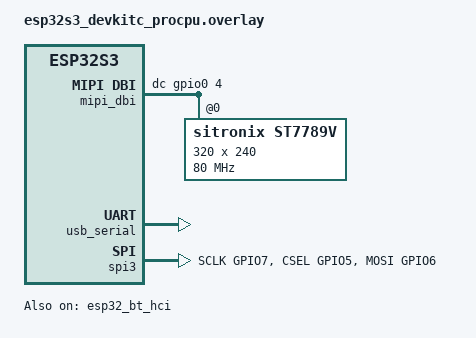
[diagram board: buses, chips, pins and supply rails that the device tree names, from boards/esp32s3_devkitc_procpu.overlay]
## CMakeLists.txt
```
cmake_minimum_required(VERSION 3.20.0)
find_package(Zephyr REQUIRED HINTS $ENV{ZEPHYR_BASE})
project(lvgl_input)

target_sources(app PRIVATE src/main.c src/ble_hid.c)
```

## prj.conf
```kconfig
# Console
CONFIG_PRINTK=y
CONFIG_CONSOLE=y
CONFIG_UART_CONSOLE=y
CONFIG_SERIAL=y

# GPIO (backlight)
CONFIG_GPIO=y

# SPI + Display
CONFIG_SPI=y
CONFIG_DISPLAY=y
CONFIG_MIPI_DBI=y

# LVGL
CONFIG_LVGL=y
CONFIG_LV_Z_MEM_POOL_SIZE=58368
CONFIG_LV_USE_LOG=y
CONFIG_LV_FONT_MONTSERRAT_14=y
CONFIG_LV_FONT_MONTSERRAT_16=y
CONFIG_LV_COLOR_DEPTH_16=y
CONFIG_LV_COLOR_16_SWAP=y
CONFIG_LV_Z_VDB_SIZE=10

# Bluetooth
CONFIG_BT=y
CONFIG_BT_CENTRAL=y
CONFIG_BT_SMP=y
CONFIG_BT_GATT_CLIENT=y
CONFIG_BT_GATT_AUTO_DISCOVER_CCC=y
CONFIG_BT_MAX_CONN=2
CONFIG_BT_MAX_PAIRED=4
CONFIG_BT_ATT_TX_COUNT=4
CONFIG_BT_L2CAP_TX_BUF_COUNT=4
CONFIG_BT_BUF_ACL_RX_SIZE=256
CONFIG_BT_BUF_ACL_TX_SIZE=256
CONFIG_BT_SMP_SC_ONLY=n
CONFIG_BT_SMP_SC_PAIR_ONLY=n
CONFIG_BT_SMP_ENFORCE_MITM=n
CONFIG_BT_BONDABLE=y

# Logging
CONFIG_LOG=y
CONFIG_BT_LOG_LEVEL_INF=y

# Stack (BLE + LVGL need more)
CONFIG_MAIN_STACK_SIZE=8192
```

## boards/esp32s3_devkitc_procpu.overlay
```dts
/* CHD-ESP32-S3-BOX: LVGL + BLE HID Host
 * Combines: ST7789V display + BLE HCI for keyboard/mouse
 */

#include <zephyr/dt-bindings/pinctrl/esp-pinctrl-common.h>
#include <dt-bindings/pinctrl/esp32s3-pinctrl.h>
#include <zephyr/dt-bindings/pinctrl/esp32s3-gpio-sigmap.h>
#include <zephyr/dt-bindings/mipi_dbi/mipi_dbi.h>

/ {
	chosen {
		zephyr,console = &usb_serial;
		zephyr,shell-uart = &usb_serial;
		zephyr,display = &st7789v;
	};

	mipi_dbi {
		compatible = "zephyr,mipi-dbi-spi";
		dc-gpios = <&gpio0 4 GPIO_ACTIVE_HIGH>;
		spi-dev = <&spi3>;
		write-only;
		#address-cells = <1>;
		#size-cells = <0>;

		st7789v: st7789v@0 {
			compatible = "sitronix,st7789v";
			mipi-max-frequency = <80000000>;
			reg = <0>;
			width = <320>;
			height = <240>;
			x-offset = <0>;
			y-offset = <0>;
			vcom = <0x19>;
			gctrl = <0x35>;
			vrhs = <0x12>;
			vdvs = <0x20>;
			mdac = <0x60>;
			gamma = <0x01>;
			colmod = <0x55>;
			inversion-off;
			lcm = <0x2c>;
			porch-param = [0c 0c 00 33 33];
			cmd2en-param = [5a 69 02 01];
			pwctrl1-param = [a4 a1];
			pvgam-param = [D0 04 0D 11 13 2B 3F 54 4C 18 0D 0B 1F 23];
			nvgam-param = [D0 04 0C 11 13 2C 3F 44 51 2F 1F 1F 20 23];
			ram-param = [00 F0];
			rgb-param = [CD 08 14];
			mipi-mode = "MIPI_DBI_MODE_SPI_4WIRE";
		};
	};
};

&usb_serial {
	status = "okay";
};

/* BLE HCI */
&esp32_bt_hci {
	status = "okay";
};

&pinctrl {
	spim3_default: spim3_default {
		group1 {
			pinmux = <SPIM3_SCLK_GPIO7>,
				 <SPIM3_CSEL_GPIO5>;
		};
		group2 {
			pinmux = <SPIM3_MOSI_GPIO6>;
			output-low;
		};
	};
};

&spi3 {
	#address-cells = <1>;
	#size-cells = <0>;
	status = "okay";
	pinctrl-0 = <&spim3_default>;
	pinctrl-names = "default";
};
```

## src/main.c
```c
/*
 * CHD-ESP32-S3-BOX: LVGL + BLE HID Mouse + Keyboard Input
 *
 * Displays a test UI with mouse cursor and keyboard navigation
 * driven by BLE-connected HID devices.
 */

#include <zephyr/kernel.h>
#include <zephyr/device.h>
#include <zephyr/devicetree.h>
#include <zephyr/drivers/display.h>
#include <zephyr/drivers/gpio.h>
#include <lvgl.h>

#include "ble_hid.h"

/* Backlight: IO47 = GPIO1 pin 15 */
#define BLK_NODE DT_NODELABEL(gpio1)
#define BLK_PIN  15

static lv_obj_t *status_label;
static lv_obj_t *coord_label;
static lv_obj_t *click_label;
static lv_obj_t *key_label;
static int click_count;

/* ── LVGL Mouse input read callback ──────────────────── */

static void mouse_read_cb(lv_indev_t *indev, lv_indev_data_t *data)
{
	data->point.x = g_mouse.x;
	data->point.y = g_mouse.y;
	data->state = (g_mouse.buttons & 0x01)
		      ? LV_INDEV_STATE_PRESSED
		      : LV_INDEV_STATE_RELEASED;
}

/* ── LVGL Keyboard input read callback ──────────────── */

static uint32_t last_key;
static lv_indev_state_t last_state = LV_INDEV_STATE_RELEASED;

static void kb_read_cb(lv_indev_t *indev, lv_indev_data_t *data)
{
	struct kb_event evt;

	if (k_msgq_get(&kb_events, &evt, K_NO_WAIT) == 0) {
		last_key = evt.key;
		last_state = evt.pressed ? LV_INDEV_STATE_PRESSED
					: LV_INDEV_STATE_RELEASED;
		/* Update key display label */
		if (key_label && evt.pressed) {
			if (evt.key >= 0x20 && evt.key < 0x7F) {
				lv_label_set_text_fmt(key_label,
						      "Key: '%c'",
						      (char)evt.key);
			} else {
				lv_label_set_text_fmt(key_label,
						      "Key: 0x%02X",
						      evt.key);
			}
		}
	}
	data->key = last_key;
	data->state = last_state;
}

/* ── UI event callbacks ─────────────────────────────── */

static void btn_click_cb(lv_event_t *e)
{
	click_count++;
	lv_label_set_text_fmt(click_label, "Clicks: %d", click_count);
}

/* ── Main ────────────────────────────────────────────── */

int main(void)
{
	printk("=== CHD-ESP32-S3-BOX LVGL + BLE HID ===\n");

	/* Backlight ON */
	const struct device *gpio1 = DEVICE_DT_GET(BLK_NODE);
	if (device_is_ready(gpio1)) {
		gpio_pin_configure(gpio1, BLK_PIN, GPIO_OUTPUT_ACTIVE);
		gpio_pin_set(gpio1, BLK_PIN, 1);
	}

	/* Display */
	const struct device *display = DEVICE_DT_GET(DT_CHOSEN(zephyr_display));
	if (!device_is_ready(display)) {
		printk("Display not ready!\n");
		return 0;
	}

	/* Init mouse state to screen center */
	g_mouse.x = SCREEN_WIDTH / 2;
	g_mouse.y = SCREEN_HEIGHT / 2;

	/* Init BLE HID Host (async — callbacks handle connection) */
	ble_hid_init();

	/* ── LVGL Mouse Input Device ────────────────────── */

	lv_indev_t *mouse_indev = lv_indev_create();
	lv_indev_set_type(mouse_indev, LV_INDEV_TYPE_POINTER);
	lv_indev_set_read_cb(mouse_indev, mouse_read_cb);

	/* Cursor: small red circle with white border */
	lv_obj_t *cursor = lv_obj_create(lv_layer_top());
	lv_obj_remove_style_all(cursor);
	lv_obj_set_size(cursor, 12, 12);
	lv_obj_set_style_radius(cursor, LV_RADIUS_CIRCLE, 0);
	lv_obj_set_style_bg_color(cursor, lv_palette_main(LV_PALETTE_RED), 0);
	lv_obj_set_style_bg_opa(cursor, LV_OPA_COVER, 0);
	lv_obj_set_style_border_width(cursor, 2, 0);
	lv_obj_set_style_border_color(cursor, lv_color_white(), 0);
	lv_indev_set_cursor(mouse_indev, cursor);

	/* ── LVGL Keyboard Input Device ─────────────────── */

	lv_indev_t *kb_indev = lv_indev_create();
	lv_indev_set_type(kb_indev, LV_INDEV_TYPE_KEYPAD);
	lv_indev_set_read_cb(kb_indev, kb_read_cb);

	lv_group_t *group = lv_group_create();
	lv_indev_set_group(kb_indev, group);

	/* ── Simple Test UI ─────────────────────────────── */

	/* Status label (top) */
	status_label = lv_label_create(lv_screen_active());
	lv_obj_set_style_text_font(status_label, &lv_font_montserrat_14, 0);
	lv_label_set_text(status_label, "BLE: Scanning...");
	lv_obj_align(status_label, LV_ALIGN_TOP_LEFT, 5, 5);

	/* Coordinate label */
	coord_label = lv_label_create(lv_screen_active());
	lv_obj_set_style_text_font(coord_label, &lv_font_montserrat_14, 0);
	lv_label_set_text_fmt(coord_label, "X:%d Y:%d",
			      g_mouse.x, g_mouse.y);
	lv_obj_align(coord_label, LV_ALIGN_TOP_RIGHT, -5, 5);

	/* Test button (center) */
	lv_obj_t *btn = lv_button_create(lv_screen_active());
	lv_obj_set_size(btn, 160, 50);
	lv_obj_align(btn, LV_ALIGN_CENTER, 0, -20);
	lv_obj_add_event_cb(btn, btn_click_cb, LV_EVENT_CLICKED, NULL);

	lv_obj_t *btn_lbl = lv_label_create(btn);
	lv_label_set_text(btn_lbl, "Click Me!");
	lv_obj_center(btn_lbl);
	lv_group_add_obj(group, btn);

	/* Second test button */
	lv_obj_t *btn2 = lv_button_create(lv_screen_active());
	lv_obj_set_size(btn2, 160, 50);
	lv_obj_align(btn2, LV_ALIGN_CENTER, 0, 40);
	lv_obj_add_event_cb(btn2, btn_click_cb, LV_EVENT_CLICKED, NULL);

	lv_obj_t *btn2_lbl = lv_label_create(btn2);
	lv_label_set_text(btn2_lbl, "Button 2");
	lv_obj_center(btn2_lbl);
	lv_group_add_obj(group, btn2);

	/* Click counter (bottom) */
	click_label = lv_label_create(lv_screen_active());
	lv_obj_set_style_text_font(click_label, &lv_font_montserrat_16, 0);
	lv_label_set_text(click_label, "Clicks: 0");
	lv_obj_align(click_label, LV_ALIGN_BOTTOM_MID, 0, -30);

	/* Key display (bottom) */
	key_label = lv_label_create(lv_screen_active());
	lv_obj_set_style_text_font(key_label, &lv_font_montserrat_14, 0);
	lv_label_set_text(key_label, "Key: --");
	lv_obj_align(key_label, LV_ALIGN_BOTTOM_MID, 0, -10);

	/* First LVGL tick + display on */
	lv_timer_handler();
	display_blanking_off(display);
	printk("LVGL + BLE running...\n");

	/* ── Main loop ──────────────────────────────────── */

	while (1) {
		/* Update status labels */
		if (g_mouse.connected && g_kb_connected) {
			lv_label_set_text(status_label, "Mouse+KB OK");
		} else if (g_mouse.connected) {
			lv_label_set_text_fmt(status_label, "M: %s",
					      g_mouse.name);
		} else if (g_kb_connected) {
			lv_label_set_text(status_label, "KB connected");
		} else {
			lv_label_set_text(status_label, "BLE: Scanning...");
		}

		if (g_mouse.connected) {
			lv_label_set_text_fmt(coord_label, "X:%d Y:%d",
					      g_mouse.x, g_mouse.y);
		}

		uint32_t sleep_ms = lv_timer_handler();
		k_msleep(MIN(sleep_ms, 33));
	}
}
```
